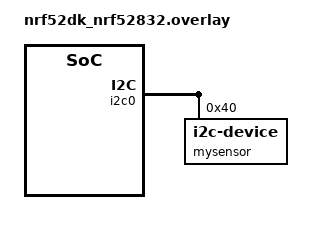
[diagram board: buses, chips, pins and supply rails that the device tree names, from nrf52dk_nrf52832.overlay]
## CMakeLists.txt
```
cmake_minimum_required(VERSION 3.20.0)
find_package(Zephyr REQUIRED HINTS $ENV{ZEPHYR_BASE})

project(si7006_driver)

target_sources(app PRIVATE src/main.c)
target_sources(app PRIVATE src/si7006.c)
```

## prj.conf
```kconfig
# STEP 1 - Enable the I2C driver
CONFIG_I2C=y
```

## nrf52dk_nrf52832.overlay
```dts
// To get started, press Ctrl+Space to bring up the completion menu and view the available nodes.

// You can also use the buttons in the sidebar to perform actions on nodes.
// Actions currently available include:

// * Enabling / disabling the node
// * Adding the bus to a bus
// * Removing the node
// * Connecting ADC channels

// For more help, browse the DeviceTree documentation at https://docs.zephyrproject.org/latest/guides/dts/index.html
// You can also visit the nRF DeviceTree extension documentation at https://nrfconnect.github.io/vscode-nrf-connect/devicetree/nrfdevicetree.html
&i2c0 {
    
    mysensor: mysensor@40{
        compatible = "i2c-device";
        status = "okay";
        reg = < 0x40 >;
    };
};
```

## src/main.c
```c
#include <zephyr/kernel.h>
#include <zephyr/device.h>
#include <zephyr/devicetree.h>
#include <zephyr/drivers/i2c.h>
#include <zephyr/sys/printk.h>
#include "si7006.h"


int main(void)
{

while(1)
{
        si7006();
        k_msleep(1000);
}
        return 0;
}
```

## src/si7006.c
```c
#include <zephyr/kernel.h>
#include <zephyr/device.h>
#include <zephyr/devicetree.h>
#include <zephyr/drivers/i2c.h>
#include <zephyr/sys/printk.h>
#include "si7006.h"
#include <stdio.h>
#define I2C_NODE DT_NODELABEL(mysensor)

struct i2c_dt_spec dev_i2c = I2C_DT_SPEC_GET(I2C_NODE);

/*******************************************************************************
 * @brief Function for write data to from master to slave
 *
 * @param[in] regAddr hold the argument of Register address.
 *
 * @retval    None.
 *******************************************************************************/
void i2c_data_write(uint8_t regAddr)
{
	uint8_t buf[1];

	buf[0] = regAddr;
	i2c_write_dt(&dev_i2c, buf, sizeof(buf));
}

/*******************************************************************************
 * @brief     Function for Read data from slave to master
 *
 * @param[in] None.
 *
 * @retval    function return received data.
 *******************************************************************************/
 uint8_t i2c_data_read()
{
	uint8_t data;
	i2c_read_dt(&dev_i2c, &data, sizeof(data));
	return data;
}

/*******************************************************************************
 * @brief     Function for Read humidity
 *
 * @param[in] None
 *
 * @retval    None.
 *******************************************************************************/
 void MEASURE_RELATIVE_HUMIDITY_NO_HOLD_MASTER_MODE()
{
	uint32_t data1;
	uint32_t data2;
	uint32_t humidity = 0;

	// Send Relative humidity measurement command, NO HOLD MASTER(0xF5)

	i2c_data_write(SI7006_MEASURE_RELATIVE_HUMIDITY_NO_HOLD_MASTER_MODE);

	// for time delay
	k_sleep(K_MSEC(200));

	// Read 2 bytes of humidity data

	// humidity msb, humidity lsb

	data1 = i2c_data_read();
	data2 = i2c_data_read();

	humidity = ((((data1 * 256) + data2) * 125) / 65536) - 6;
	// printk("FOR NO HOLD MASTER MODE\n");
	printk("Relative Humidity : %02d percentage\n", humidity);
}

/*******************************************************************************
 * @brief     Function for Read Temperature
 *
 * @param[in] None
 *
 * @retval    None.
 *******************************************************************************/
void MEASURE_TEMPERATURE_NO_HOLD_MASTER_MODE()
{
	uint32_t data3;
	uint32_t data4;
	uint32_t cTemp = 0;

	// Send temperature measurement command, NO HOLD MASTER(0xF3)

	i2c_data_write(SI7006_MEASURE_TEMPERATURE_NO_HOLD_MASTER_MODE);

	// For time delay
	k_sleep(K_MSEC(200));

	// Read 2 bytes of temperature data

	// humidity msb, humidity lsb

	data3 = i2c_data_read();
	data4 = i2c_data_read();

	cTemp = ((((data3 * 256) + data4) * 175.72) / 65536) - 46.85;
	// int fTemp = (cTemp * 1.8) + 32;

	// Output data to screen
	// printk("FOR NO HOLD MASTER MODE\n");
	printk("Temperature in Celsius : %02d C \n", cTemp);
	// printk("Temperature in Fahrenheit : %02d F \n", fTemp);
}

/*******************************************************************************
 * @brief     Function for Read Temperature and humidity
 *
 * @param[in] None
 *
 * @retval    None.
 *******************************************************************************/
void si7006()
{
	if (!device_is_ready(dev_i2c.bus))
	{
		printk("I2C bus %s is not ready!\n\r", dev_i2c.bus->name);
		return;
	}
	MEASURE_RELATIVE_HUMIDITY_NO_HOLD_MASTER_MODE();

	MEASURE_TEMPERATURE_NO_HOLD_MASTER_MODE();
}
```

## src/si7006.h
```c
#ifndef _SI7006_H
#define _SI7006_H

#define     SI7006_ADDRESS       0x40U                                                
#define     SI7006_MEASURE_RELATIVE_HUMIDITY_NO_HOLD_MASTER_MODE           0xF5U               
#define     SI7006_MEASURE_TEMPERATURE_NO_HOLD_MASTER_MODE                 0xF3U               

void si7006();



#endif
```
